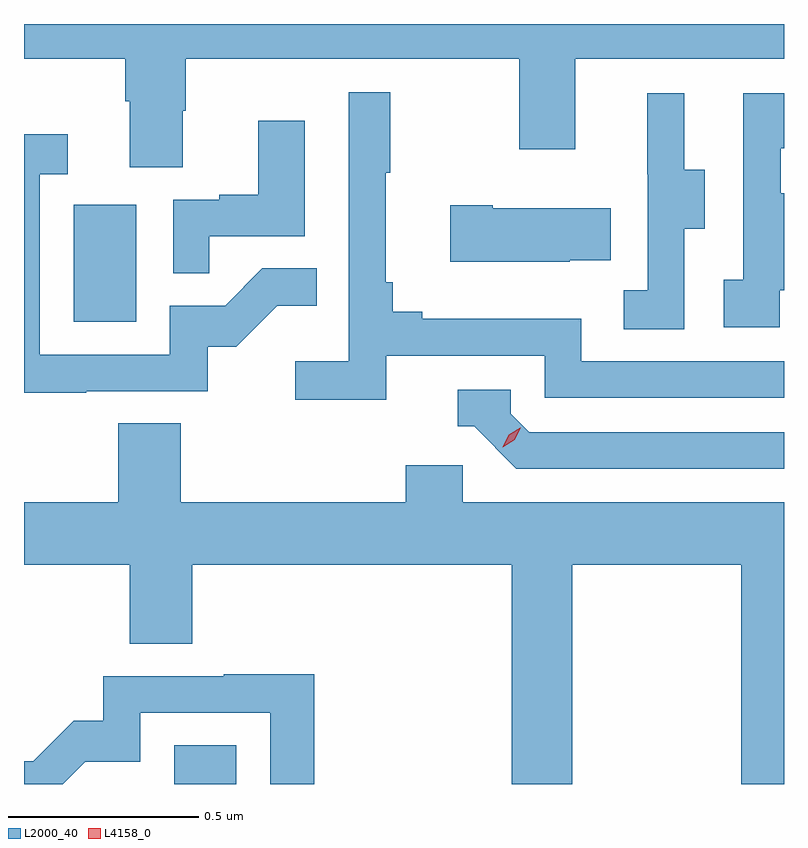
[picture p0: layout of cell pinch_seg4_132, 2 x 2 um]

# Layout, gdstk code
import gdstk
lib = gdstk.Library(unit=1e-6, precision=1e-09)
def R(c, l, rs):  # rectangles x0, y0, x1, y1
    for r in rs: c.add(gdstk.rectangle(r[:2], r[2:], *l))
def P(c, l, *ps):  # polygons
    for p in ps: c.add(gdstk.Polygon(p, *l))
L2000_40 = (2000, 40)
L4158_0 = (4158, 0)

pinch_seg4_132 = lib.new_cell('pinch_seg4_132')
R(pinch_seg4_132, L2000_40, [(1046.036,798.907,1046.2,799.009), (1045.772,800.124,1045.936,800.431)])
P(pinch_seg4_132, L2000_40, [(1045.641,800.816),(1045.907,800.816),(1045.907,800.704),(1045.919,800.704),(1045.919,800.53),(1046.059,800.53),(1046.059,800.679),(1046.067,800.679),(1046.067,800.816),(1046.944,800.816),(1046.944,800.577),(1047.091,800.577),(1047.091,800.816),(1047.641,800.816),(1047.641,800.907),(1045.641,800.907)],
  [(1046.594,800.034),(1047.012,800.034),(1047.012,799.923),(1047.641,799.923),(1047.641,800.019),(1047.108,800.019),(1047.108,800.131),(1046.689,800.131),(1046.689,800.15),(1046.612,800.15),(1046.612,800.227),(1046.593,800.227),(1046.593,800.515),(1046.605,800.515),(1046.605,800.728),(1046.496,800.728),(1046.496,800.02),(1046.355,800.02),(1046.355,799.918),(1046.594,799.918)],
  [(1047.378,800.368),(1047.433,800.368),(1047.433,800.523),(1047.379,800.523),(1047.379,800.725),(1047.281,800.725),(1047.281,800.511),(1047.282,800.511),(1047.282,800.207),(1047.219,800.207),(1047.219,800.104),(1047.378,800.104)],
  [(1047.63,800.207),(1047.641,800.207),(1047.641,800.462),(1047.633,800.462),(1047.633,800.58),(1047.641,800.58),(1047.641,800.725),(1047.534,800.725),(1047.534,800.234),(1047.483,800.234),(1047.483,800.109),(1047.63,800.109)],
  [(1046.129,800.349),(1046.38,800.349),(1046.38,800.653),(1046.258,800.653),(1046.258,800.458),(1046.155,800.458),(1046.155,800.445),(1046.034,800.445),(1046.034,800.251),(1046.129,800.251)],
  [(1045.805,799.941),(1046.124,799.941),(1046.124,800.058),(1046.2,800.058),(1046.307,800.165),(1046.411,800.165),(1046.411,800.264),(1046.268,800.264),(1046.17,800.166),(1046.025,800.166),(1046.025,800.037),(1045.683,800.037),(1045.683,800.511),(1045.756,800.511),(1045.756,800.617),(1045.641,800.617),(1045.641,799.936),(1045.805,799.936)],
  [(1047.077,800.285),(1047.185,800.285),(1047.185,800.422),(1046.875,800.422),(1046.875,800.43),(1046.763,800.43),(1046.763,800.282),(1047.077,800.282)],
  [(1047.641,799.833),(1046.97,799.833),(1046.922,799.881),(1046.922,799.944),(1046.783,799.944),(1046.783,799.848),(1046.826,799.848),(1046.937,799.737),(1047.641,799.737)],
  [(1047.084,799.484),(1047.529,799.484),(1047.529,798.907),(1047.641,798.907),(1047.641,799.648),(1046.796,799.648),(1046.796,799.746),(1046.645,799.746),(1046.645,799.648),(1046.054,799.648),(1046.054,799.856),(1045.889,799.856),(1045.889,799.648),(1045.641,799.648),(1045.641,799.484),(1045.919,799.484),(1045.919,799.276),(1046.084,799.276),(1046.084,799.484),(1046.924,799.484),(1046.924,798.907),(1047.084,798.907)],
  [(1045.802,798.966),(1045.947,798.966),(1045.947,799.095),(1046.289,799.095),(1046.289,798.907),(1046.405,798.907),(1046.405,799.196),(1046.167,799.196),(1046.167,799.191),(1045.849,799.191),(1045.849,799.074),(1045.772,799.074),(1045.665,798.967),(1045.641,798.967),(1045.641,798.907),(1045.743,798.907)])
P(pinch_seg4_132, L4158_0, [(1046.901,799.793),(1046.901,799.794),(1046.917,799.826),(1046.947,799.845),(1046.948,799.845),(1046.948,799.845),(1046.932,799.813),(1046.901,799.793)])

lib.write_gds('pinch_seg4_132.gds')
